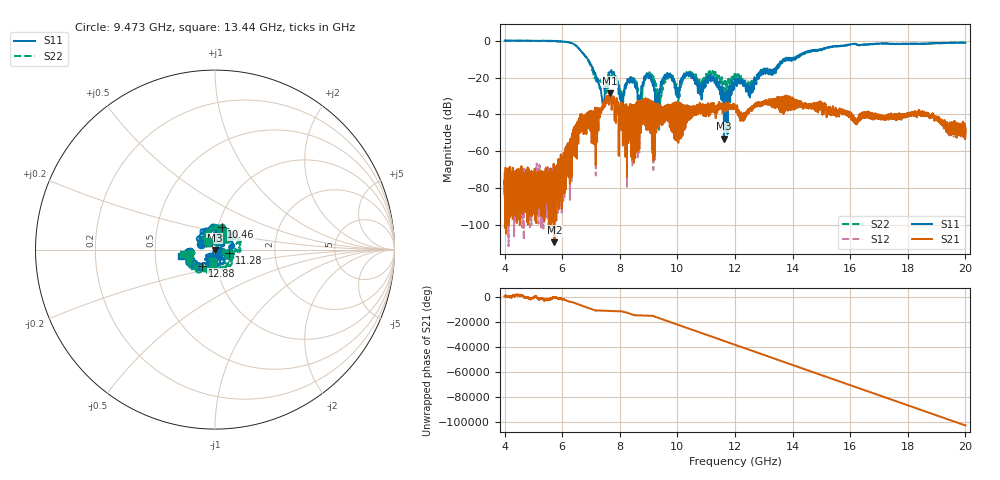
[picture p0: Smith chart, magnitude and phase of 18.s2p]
[Version] 2.0
! Rohde & Schwarz Vector Network Analyzer
! Rohde-Schwarz,ZNL20-2Port,1323001220200009,1.71.1.10-23.02.1.238
! Port Assignments:
! Nominal Port -> Actual Test Port
!  1 -> 1
!  2 -> 2
! Created: GMT+2 2025-01-16 20:26:51
# Hz S RI R 50
[Number of Ports] 2
[Two-Port Data Order] 21_12
! freq[Hz]  S11[Re]  S11[Im]  S21[Re]  S21[Im]  S12[Re]  S12[Im]  S22[Re]  S22[Im]
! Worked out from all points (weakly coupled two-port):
!   16001 points, 4 GHz to 20 GHz, reference 50 ohm
!   highest |S21| = -28.59 dB at 7.651 GHz (marker M1); lowest = -109.1 dB at 5.728 GHz (marker M2)
!   lowest |S11| = -53.1 dB at 11.62 GHz (marker M3), VSWR 1.00, Z = 49.9 - j0.214 ohm
!   |S11| at or under -10 dB: 6.887 GHz to 13.7 GHz (6.814 GHz wide, 66.2 % of centre); 13.71516 GHz to 13.7436 GHz (28.45 MHz wide, 0.207 % of centre); 13.94334 GHz to 13.96745 GHz (24.11 MHz wide, 0.173 % of centre) (the widest 3 of 9)
!   |S22| runs from -48.3 to 0.0 dB; largest |S21 - S12| = 0.0023
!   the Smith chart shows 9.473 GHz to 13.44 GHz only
!   S11 on the Smith chart (normalised r, x): 9.473 GHz: 0.85, +0.05; 10.46 GHz: 1.04, +0.27; 11.28 GHz: 1.17, -0.04; 12.88 GHz: 0.85, -0.16; 13.44 GHz: 0.67, -0.04
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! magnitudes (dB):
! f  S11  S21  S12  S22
! 4 GHz  0.0  -77.7  -76.5  -0.2
! 5.728 GHz  -0.3  -109.1  -76.0  -0.4
! 6.667 GHz  -6.0  -40.8  -40.4  -6.0
! 7.396 GHz  -33.7  -37.4  -37.2  -23.2
! 7.651 GHz  -17.5  -28.6  -28.6  -19.8
! 8.044 GHz  -37.7  -35.6  -35.5  -30.3
! 8.43 GHz  -22.8  -41.1  -41.3  -21.6
! 8.718 GHz  -34.2  -39.8  -39.8  -38.3
! 9.006 GHz  -20.4  -34.3  -34.4  -18.8
! 9.334 GHz  -28.2  -34.4  -34.4  -32.1
! 9.473 GHz  -21.4  -36.4  -36.1  -24.9
! 10.01 GHz  -26.0  -33.7  -33.6  -27.1
! 10.46 GHz  -17.6  -40.8  -40.7  -17.1
! 10.78 GHz  -23.8  -33.8  -33.8  -21.4
! 11.28 GHz  -21.7  -38.8  -38.8  -18.7
! 11.62 GHz  -53.1  -35.1  -35.1  -24.4
! 12 GHz  -21.5  -36.8  -36.8  -19.1
! 12.88 GHz  -18.8  -34.0  -33.9  -17.6
! 13.44 GHz  -14.2  -36.0  -36.0  -14.8
! 14.67 GHz  -5.5  -34.6  -34.4  -5.8
! 17.33 GHz  -1.8  -41.1  -41.3  -1.8
! 20 GHz  -1.2  -47.6  -50.2  -1.1
